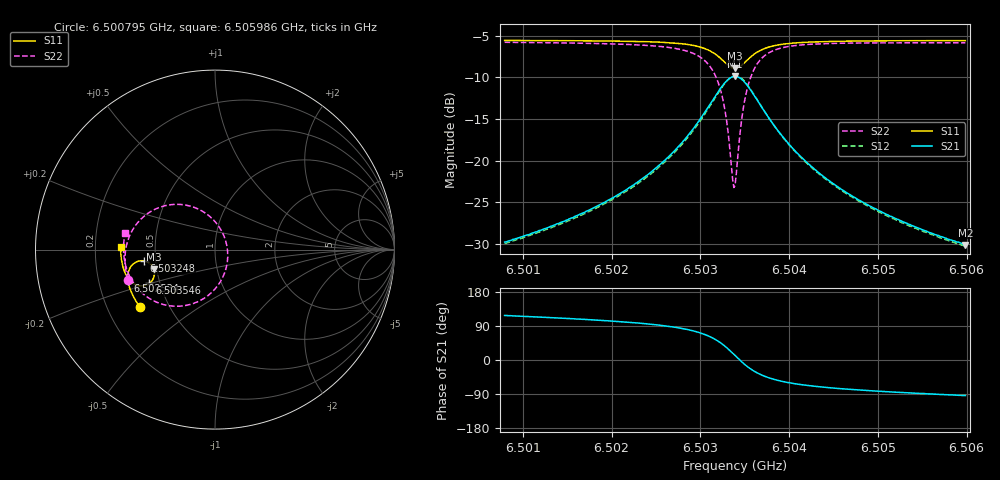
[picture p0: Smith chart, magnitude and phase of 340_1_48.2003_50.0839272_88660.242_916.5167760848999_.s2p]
#  HZ  S  RI  R  50.00
! Rohde & Schwarz Vector Network Analyzer
! Rohde-Schwarz,ZNB20-2Port,1311601062101988,3.16
! Created: UTC 3/20/2024, 11:51:15 AM
! freq[Hz]  re:S11  im:S11  re:S21  im:S21  re:S12  im:S12  re:S22  im:S22
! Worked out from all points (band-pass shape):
!   401 points, 6.500795 GHz to 6.505986 GHz, reference 50 ohm
!   highest |S21| = -9.88 dB at 6.503391 GHz (marker M1); lowest = -30.1 dB at 6.505986 GHz (marker M2)
!   |S21| within 3 dB of the highest: 6.503131 GHz to 6.50365 GHz (519.3 kHz wide, 0.00798 % of centre)
!   lowest |S11| = -8.9 dB at 6.503391 GHz (marker M3), VSWR 2.11, Z = 24.1 - j6.12 ohm
!   |S11| at or under -10 dB: nowhere
!   |S22| runs from -23.2 to -5.8 dB; largest |S21 - S12| = 0.011
!   S11 on the Smith chart (normalised r, x): 6.500795 GHz: 0.34, -0.30; 6.502534 GHz: 0.33, -0.15; 6.503248 GHz: 0.43, -0.06; 6.503546 GHz: 0.44, -0.20; 6.505986 GHz: 0.31, +0.01
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6.5007948e9  -0.4192 -0.3189  -0.0151 0.0288  -0.0133 0.0289  -0.4854 -0.1681
6.5016644e9  -0.4576 -0.2558  -0.0145 0.046  -0.0121 0.0457  -0.501 -0.0781
6.5021316e9  -0.4747 -0.2155  -0.0121 0.0643  -0.00913 0.0634  -0.4995 -0.0141
6.502534e9  -0.4849 -0.1723  -0.00333 0.0936  0.000232 0.0915  -0.4815 0.063
6.5028325e9  -0.4836 -0.129  0.0202 0.1346  0.0239 0.1305  -0.4325 0.1482
6.5030272e9  -0.4667 -0.0917  0.0662 0.1749  0.0689 0.1691  -0.3435 0.2201
6.503157e9  -0.4352 -0.0674  0.1345 0.1974  0.1356 0.1911  -0.2197 0.2521
6.5032478e9  -0.3976 -0.0624  0.2094 0.1878  0.2099 0.1823  -0.0895 0.2242
6.5032997e9  -0.3726 -0.0709  0.2569 0.1602  0.2577 0.1555  -0.0108 0.1678
6.5033646e9  -0.3465 -0.0965  0.3037 0.0981  0.3061 0.0929  0.0597 0.0482
6.5033906e9  -0.3403 -0.1107  0.3138 0.0666  0.3166 0.0606  0.0703 -0.0104
6.5034036e9  -0.3384 -0.1183  0.3164 0.0502  0.3195 0.0438  0.0711 -0.0403
6.5034555e9  -0.3393 -0.1484  0.3109 -0.0139  0.3135 -0.0227  0.0433 -0.1538
6.5034814e9  -0.3443 -0.162  0.2999 -0.0422  0.3017 -0.052  0.0146 -0.2015
6.5035463e9  -0.3651 -0.1872  0.2582 -0.0951  0.2569 -0.106  -0.0794 -0.2821
6.5036502e9  -0.4036 -0.2018  0.1857 -0.1306  0.1803 -0.1397  -0.2253 -0.3156
6.5038189e9  -0.4488 -0.192  0.1061 -0.128  0.0992 -0.1328  -0.3686 -0.2703
6.5040006e9  -0.4757 -0.1706  0.0627 -0.1087  0.0566 -0.1109  -0.439 -0.2068
6.5042602e9  -0.4962 -0.1406  0.0333 -0.0851  0.0287 -0.0857  -0.4815 -0.1359
6.5046625e9  -0.512 -0.0996  0.0141 -0.0621  0.0112 -0.0618  -0.504 -0.0597
6.5051297e9  -0.5211 -0.0569  0.00496 -0.0466  0.00269 -0.0459  -0.5096 0.004
6.5059864e9  -0.5257 0.015  -0.00206 -0.0312  -0.00343 -0.0306  -0.5013 0.0926
